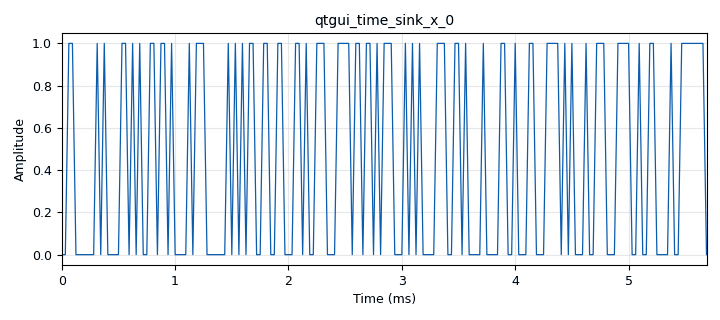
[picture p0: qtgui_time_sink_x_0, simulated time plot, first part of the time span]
options:
  parameters:
    generate_options: qt_gui
    id: Variables2
    output_language: python
    title: Not titled yet
  states: {}

blocks:
- name: samp_rate
  id: variable
  parameters:
    value: '32000'
  states: {}
- name: analog_random_source_x_0
  id: analog_random_source_x
  parameters:
    max: '2'
    min: '0'
    num_samps: '1000'
    repeat: 'True'
    type: byte
  states: {}
- name: blocks_char_to_float_0
  id: blocks_char_to_float
  parameters:
    scale: '1'
  states: {}
- name: blocks_throttle2_0
  id: blocks_throttle2
  parameters:
    samples_per_second: samp_rate
    type: byte
  states: {}
- name: qtgui_time_sink_x_0
  id: qtgui_time_sink_x
  parameters:
    autoscale: 'True'
    grid: 'True'
    size: '1024'
    srate: samp_rate
    type: float
  states: {}

connections:
- [analog_random_source_x_0, '0', blocks_throttle2_0, '0']
- [blocks_char_to_float_0, '0', qtgui_time_sink_x_0, '0']
- [blocks_throttle2_0, '0', blocks_char_to_float_0, '0']

metadata:
  file_format: 1
  grc_version: 3.10.7.0
